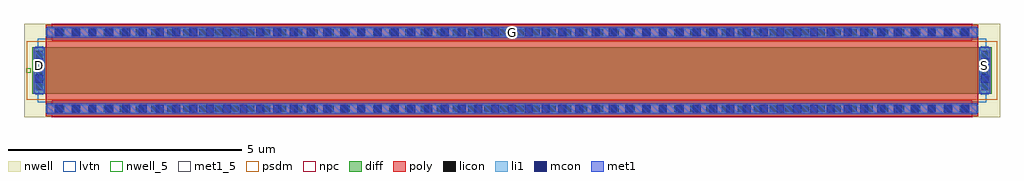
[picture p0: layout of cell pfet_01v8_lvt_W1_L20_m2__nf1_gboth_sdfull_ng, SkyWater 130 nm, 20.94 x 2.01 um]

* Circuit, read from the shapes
.subckt pfet_01v8_lvt_W1_L20_m2__nf1_gboth_sdfull_ng B D G S
XM1 S G D B sky130_fd_pr__pfet_01v8_lvt w=1 l=20
.ends

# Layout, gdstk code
import gdstk
lib = gdstk.Library(unit=1e-6, precision=1e-09)
def R(c, l, rs):  # rectangles x0, y0, x1, y1
    for r in rs: c.add(gdstk.rectangle(r[:2], r[2:], *l))
def A(c, l, x, y, w, h, nx, ny, dx, dy):  # array of equal rectangles
    R(c, l, [(x+i*dx, y+j*dy, x+i*dx+w, y+j*dy+h) for i in range(nx) for j in range(ny)])
nwell_5 = (64, 5)
nwell = (64, 20)
diff = (65, 20)
poly = (66, 20)
licon = (66, 44)
li1 = (67, 20)
mcon = (67, 44)
met1_5 = (68, 5)
met1 = (68, 20)
psdm = (94, 20)
npc = (95, 20)
lvtn = (125, 44)

sky130_fd_pr__pfet_01v8_ = lib.new_cell('sky130_fd_pr__pfet_01v8_lvt_UEXLP8')
R(sky130_fd_pr__pfet_01v8_, nwell, [(-10.47,-1,10.47,1)])
R(sky130_fd_pr__pfet_01v8_, diff, [(-10.29,-0.5,10.29,0.5)])
R(sky130_fd_pr__pfet_01v8_, poly, [(-10,-0.985,10,0.985)])
A(sky130_fd_pr__pfet_01v8_, licon, -9.775, -0.905, 0.17, 0.17, 58, 2, 0.34, 1.64)
A(sky130_fd_pr__pfet_01v8_, licon, -10.23, -0.425, 0.17, 0.17, 1, 3, 0, 0.34)
A(sky130_fd_pr__pfet_01v8_, licon, 10.06, -0.425, 0.17, 0.17, 1, 3, 0, 0.34)
R(sky130_fd_pr__pfet_01v8_, li1, [(-10,-0.905,10,-0.735), (-10.23,-0.52,-10.06,0.52), (10.06,-0.52,10.23,0.52), (-10,0.735,10,0.905)])
A(sky130_fd_pr__pfet_01v8_, mcon, -9.805, -0.905, 0.17, 0.17, 55, 2, 0.36, 1.64)
R(sky130_fd_pr__pfet_01v8_, mcon, [(-10.23,-0.265,-10.06,-0.095), (10.06,-0.265,10.23,-0.095), (-10.23,0.095,-10.06,0.265), (10.06,0.095,10.23,0.265)])
R(sky130_fd_pr__pfet_01v8_, met1, [(-9.98,-0.935,9.98,-0.705), (-10.26,-0.5,-10.03,0.5), (10.03,-0.5,10.26,0.5), (-9.98,0.705,9.98,0.935)])
R(sky130_fd_pr__pfet_01v8_, psdm, [(-10.415,-0.625,10.415,0.625)])
R(sky130_fd_pr__pfet_01v8_, npc, [(-9.875,-1.005,9.875,-0.635), (-9.875,0.635,9.875,1.005)])
R(sky130_fd_pr__pfet_01v8_, lvtn, [(-10.18,-0.68,10.18,0.68)])
sky130_fd_pr__pfet_01v8_.add(gdstk.Label('D', (-10.145,0), layer=67, texttype=5))
sky130_fd_pr__pfet_01v8_.add(gdstk.Label('S', (10.145,0), layer=67, texttype=5))
sky130_fd_pr__pfet_01v8_.add(gdstk.Label('G', (0,0.82), layer=67, texttype=5))

pfet_01v8_lvt_w1_l20_m2_ = lib.new_cell('pfet_01v8_lvt_W1_L20_m2__nf1_gboth_sdfull_ng')
R(pfet_01v8_lvt_w1_l20_m2_, nwell_5, [(0.05,0.95,0.15,1.05)])
R(pfet_01v8_lvt_w1_l20_m2_, nwell, [(0.05,0.95,0.15,1.05)])
R(pfet_01v8_lvt_w1_l20_m2_, met1_5, [(0.21,1,0.44,1.2), (20.5,1,20.73,1.2), (0.49,1.705,20.45,1.935)])
R(pfet_01v8_lvt_w1_l20_m2_, met1, [(0.21,1,0.44,1.2), (20.5,1,20.73,1.2), (0.49,1.705,20.45,1.935)])
pfet_01v8_lvt_w1_l20_m2_.add(gdstk.Reference(sky130_fd_pr__pfet_01v8_, (10.47,1)))
pfet_01v8_lvt_w1_l20_m2_.add(gdstk.Label('D', (0.325,1.1), layer=68, texttype=5))
pfet_01v8_lvt_w1_l20_m2_.add(gdstk.Label('S', (20.615,1.1), layer=68, texttype=5))
pfet_01v8_lvt_w1_l20_m2_.add(gdstk.Label('G', (10.47,1.82), layer=68, texttype=5))
pfet_01v8_lvt_w1_l20_m2_.add(gdstk.Label('B', (0.1,1), layer=64, texttype=5))

lib.write_gds('pfet_01v8_lvt_W1_L20_m2__nf1_gboth_sdfull_ng.gds')
